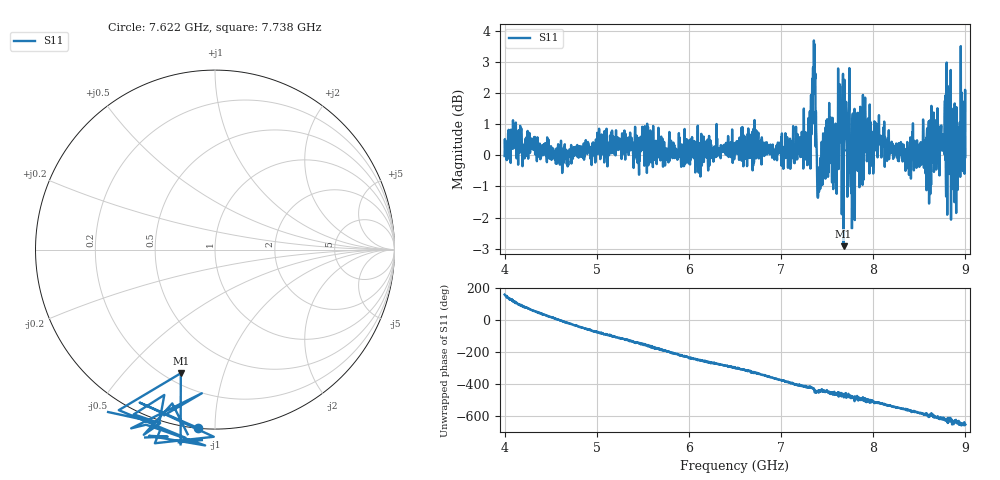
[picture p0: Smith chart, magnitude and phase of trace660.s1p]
! Created with skrf 1.8.0 (http://scikit-rf.org).
# Hz S RI R 50.0
!freq ReS11 ImS11
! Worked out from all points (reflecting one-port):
!   1601 points, 4 GHz to 9 GHz, reference 50 ohm
!   lowest |S11| = -2.9 dB at 7.678 GHz (marker M1), VSWR 6.01, Z = 12.9 - j36.4 ohm
!   phase of S11 starts at 162 deg and turns -812 deg over the sweep
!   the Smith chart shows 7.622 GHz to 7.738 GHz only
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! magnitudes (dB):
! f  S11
! 4 GHz  0.0
! 4.1 GHz  0.4
! 4.625 GHz  -0.6
! 5.25 GHz  0.2
! 5.875 GHz  -0.1
! 6.5 GHz  0.2
! 7.125 GHz  0.4
! 7.294 GHz  0.4
! 7.347 GHz  2.8
! 7.362 GHz  3.6
! 7.4 GHz  -1.4
! 7.412 GHz  -1.2
! 7.478 GHz  0.4
! 7.591 GHz  1.0
! 7.644 GHz  0.6
! 7.678 GHz  -2.9
! 7.75 GHz  0.3
! 7.781 GHz  -1.0
! 7.8 GHz  -2.1
! 7.928 GHz  0.6
! 7.981 GHz  -0.3
! 8.038 GHz  0.4
! 8.375 GHz  -0.1
! 8.766 GHz  0.4
! 8.816 GHz  -0.1
! 8.869 GHz  -1.1
! 8.956 GHz  0.0
! 9 GHz  -0.1
